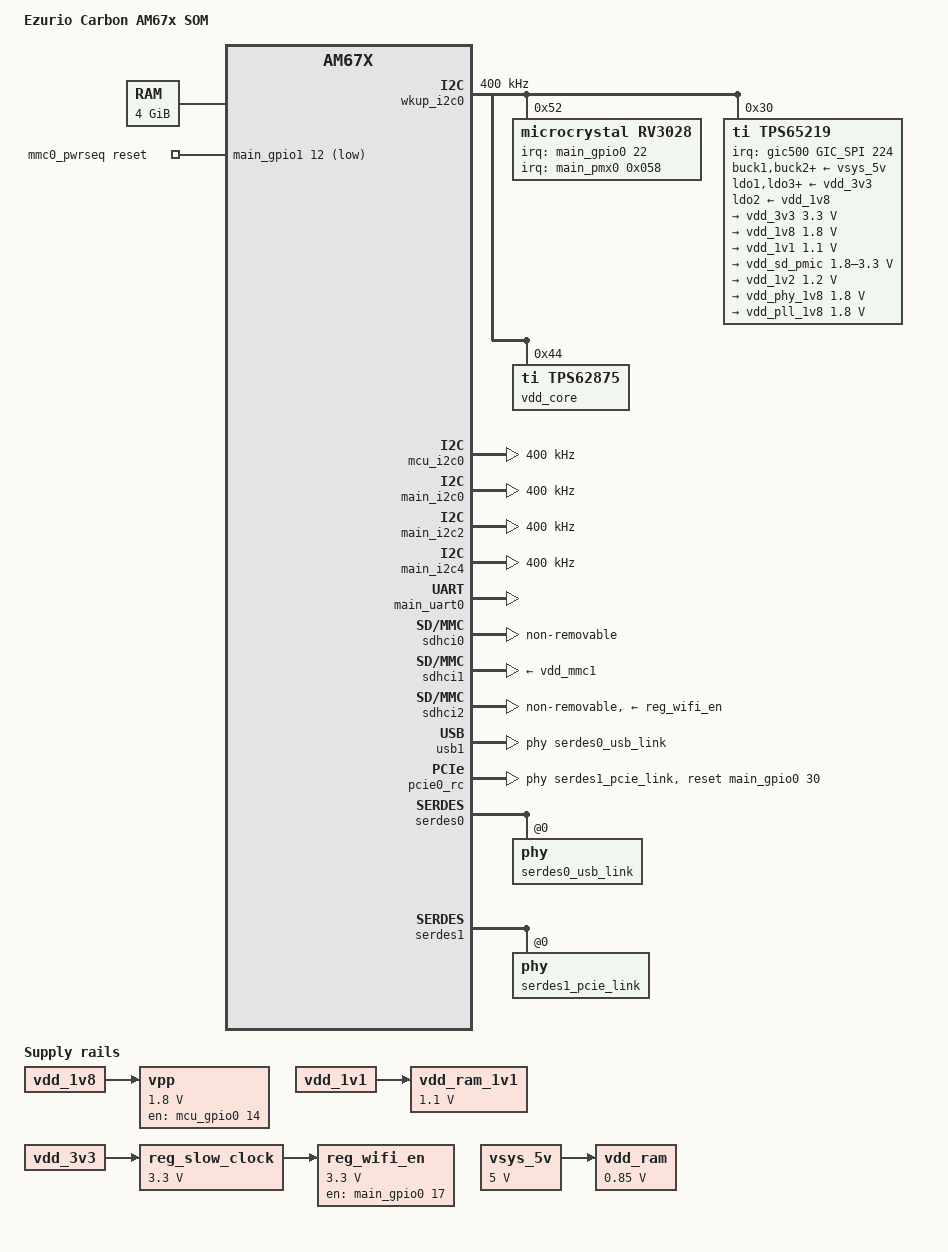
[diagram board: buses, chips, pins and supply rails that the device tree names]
// SPDX-License-Identifier: GPL-2.0
/*
 * AM67 Carbon SOM
 *
 * Copyright (C) 2025 Ezurio LLC
 */

/dts-v1/;

#include <dt-bindings/gpio/gpio.h>
#include <dt-bindings/input/input.h>
#include <dt-bindings/input/gpio-keys.h>
#include <dt-bindings/net/ti-dp83867.h>
#include <dt-bindings/phy/phy.h>
#include "k3-serdes.h"

#include "k3-j722s.dtsi"

/ {
	compatible = "summit,carbon-am67x-som", "ti,j722s";
	model = "Ezurio Carbon AM67x SOM";

	aliases {
		serial0 = &wkup_uart0;		/* UART_C */
		serial2 = &main_uart0;		/* UART_CON */
		serial3 = &main_uart1;		/* BT */
		serial4 = &main_uart5;		/* UART_A */
		serial5 = &mcu_uart0;		/* UART_B */
		serial6 = &main_uart6;		/* UART_D */
		mmc0 = &sdhci0;			/* EMMC */
		mmc1 = &sdhci1;			/* SDIO_A */
		mmc2 = &sdhci2;			/* WIFI */
		spi0 = &main_spi0;			/* SPI_A */
		spi1 = &mcu_spi0;		/* SPI_B */
		ethernet0 = &cpsw_port1;	/* ETH_A */
		ethernet1 = &cpsw_port2;	/* ETH_B */
		can0 = &main_mcan0;		/* CAN_A */
		can1 = &mcu_mcan1;		/* CAN_B */
		usb0 = &usb0;			/* USB_A */
		usb1 = &usb1;			/* USB_C */
		gpio0 = &main_gpio0;
		gpio1 = &main_gpio1;
		gpio2 = &mcu_gpio0;
		rtc0 = &rv3028;
		rtc1 = &wkup_rtc0;
	};

	chosen {
		stdout-path = "serial2:115200n8";
	};

	memory@80000000 {
		device_type = "memory";
		/* 4G RAM */
		reg = <0x00000000 0x80000000 0x00000000 0x80000000>,
		      <0x00000008 0x80000000 0x00000000 0x80000000>;
	};

	reserved_memory: reserved-memory {
		#address-cells = <2>;
		#size-cells = <2>;
		ranges;

		/* global cma region */
		linux,cma {
			compatible = "shared-dma-pool";
			reusable;
			size = <0x00 0x38000000>;
			linux,cma-default;
		};

		secure_tfa_ddr: tfa@9e780000 {
			reg = <0x00 0x9e780000 0x00 0x80000>;
			alignment = <0x1000>;
			no-map;
		};

		secure_ddr: optee@9e800000 {
			reg = <0x00 0x9e800000 0x00 0x01800000>;
			alignment = <0x1000>;
			no-map;
		};

		wkup_r5fss0_core0_dma_memory_region: r5f-dma-memory@a0000000 {
			compatible = "shared-dma-pool";
			reg = <0x00 0xa0000000 0x00 0x100000>;
			no-map;
		};

		wkup_r5fss0_core0_memory_region: r5f-memory@a0100000 {
			compatible = "shared-dma-pool";
			reg = <0x00 0xa0100000 0x00 0xf00000>;
			no-map;
		};

		mcu_r5fss0_core0_dma_memory_region: mcu-r5fss-dma-memory-region@a1000000 {
			compatible = "shared-dma-pool";
			reg = <0x00 0xa1000000 0x00 0x100000>;
			no-map;
		};

		mcu_r5fss0_core0_memory_region: mcu-r5fss-memory-region@a1100000 {
			compatible = "shared-dma-pool";
			reg = <0x00 0xa1100000 0x00 0xf00000>;
			no-map;
		};

		main_r5fss0_core0_dma_memory_region: main-r5fss-dma-memory-region@a2000000 {
			compatible = "shared-dma-pool";
			reg = <0x00 0xa2000000 0x00 0x100000>;
			no-map;
		};

		main_r5fss0_core0_memory_region: main-r5fss-memory-region@a2100000 {
			compatible = "shared-dma-pool";
			reg = <0x00 0xa2100000 0x00 0xf00000>;
			no-map;
		};

		rtos_ipc_memory_region: ipc-memories@a5000000 {
			reg = <0x00 0xa5000000 0x00 0x1c00000>;
			alignment = <0x1000>;
			no-map;
		};
	};

	vsys_5v: regulator-vcc-in-5v {
		/* VCC_IN_5V */
		compatible = "regulator-fixed";
		regulator-name = "vsys_5v";
		regulator-min-microvolt = <5000000>;
		regulator-max-microvolt = <5000000>;
		regulator-always-on;
		regulator-boot-on;
	};

	vdd_ram: regulator-vdd-ram {
		/* TLV62595 U10 */
		compatible = "regulator-fixed";
		regulator-name = "vdd_ram";
		vin-supply = <&vsys_5v>;
		regulator-min-microvolt = <850000>;
		regulator-max-microvolt = <850000>;
		regulator-always-on;
		regulator-boot-on;
	};

	vpp: regulator-vpp {
		/* TPS22916 U11 */
		compatible = "regulator-fixed";
		regulator-name = "vpp";
		vin-supply = <&vdd_1v8>;
		regulator-min-microvolt = <1800000>;
		regulator-max-microvolt = <1800000>;

		pinctrl-names = "default";
		pinctrl-0 = <&mcu_vpp_en_pins_default>;
		gpios = <&mcu_gpio0 14 GPIO_ACTIVE_HIGH>;
		enable-active-high;
	};

	vdd_ram_1v1: regulator-vdd-ram-1v1 {
		/* TPS22916 U11 */
		compatible = "regulator-fixed";
		regulator-name = "vdd_ram_1v1";
		vin-supply = <&vdd_1v1>;
		regulator-min-microvolt = <1100000>;
		regulator-max-microvolt = <1100000>;
		regulator-always-on;
		regulator-boot-on;
	};

	vsel_mmc1: regulator-vsel-mmc1 {
		/* Output of U4 TPS6521920WRHBRQ1 VLDO1 */
		compatible = "regulator-gpio";

		vin-supply = <&vdd_sd_pmic>;

		regulator-name = "vsel_mmc1";
		regulator-min-microvolt = <1800000>;
		regulator-max-microvolt = <3300000>;

		pinctrl-names = "default";
		pinctrl-0 = <&vsel_mmc1_pins_default>;
		gpios = <&main_gpio0 16 GPIO_ACTIVE_LOW>;

		/* initial state must be 3.3V */
		states = <3300000 0x0>, <1800000 0x1>;
		status = "disabled";
	};

	vdd_mmc1: regulator-vdd-mmc1 {
		compatible = "regulator-fixed";

		regulator-name = "vdd_mmc1";
		regulator-min-microvolt = <3300000>;
		regulator-max-microvolt = <3300000>;

		pinctrl-names = "default";
		pinctrl-0 = <&main_mmc1_power_en_default>;
		gpios = <&main_gpio0 15 GPIO_ACTIVE_HIGH>;

		enable-active-high;
		startup-delay-us = <5000>;
		status = "disabled";
	};

	clk_cam_a_hw: clk-cam-a-hw {
		compatible = "pwm-clock";
		status = "disabled";
		#clock-cells = <0>;
		clock-frequency = <24000000>;
		clock-output-names = "clk_cam_a_hw";
		pwms = <&cam_a_pwm 0 42 0>; /* 1 / 42 ns = 24 MHz */
	};

	clk_cam_b_hw: clk-cam-b-hw {
		compatible = "pwm-clock";
		status = "disabled";
		#clock-cells = <0>;
		clock-frequency = <24000000>;
		clock-output-names = "clk_cam_b_hw";
		pwms = <&ecap0 0 42 0>; /* 1 / 42 ns = 24 MHz */
	};

	clk_cam_c_hw: clk-cam-c-hw {
		compatible = "pwm-clock";
		status = "disabled";
		#clock-cells = <0>;
		clock-frequency = <24000000>;
		clock-output-names = "clk_cam_c_hw";
		pwms = <&pwm4 0 42 0>; /* 1 / 42 ns = 24 MHz */
	};

	clk_cam_d_hw: clk-cam-d-hw {
		compatible = "pwm-clock";
		status = "disabled";
		#clock-cells = <0>;
		clock-frequency = <24000000>;
		clock-output-names = "clk_cam_d_hw";
		pwms = <&epwm1 1 42 0>; /* 1 / 42 ns = 24 MHz */
	};

	cam_a_pwm: dmtimer-main-pwm-6 { /* CAM_A_MCK */
		compatible = "ti,omap-dmtimer-pwm";
		#pwm-cells = <3>;
		ti,timers = <&main_timer6>;
		pinctrl-0 = <&main_timer6_pins_default>;
		pinctrl-names = "default";
		status = "disabled";
	};

	pwm4: dmtimer-main-pwm-7 { /* CAM_C_MCK / PWM_4 */
		compatible = "ti,omap-dmtimer-pwm";
		#pwm-cells = <3>;
		ti,timers = <&main_timer7>;
		pinctrl-0 = <&main_timer7_pins_default>;
		pinctrl-names = "default";
		status = "disabled";
	};

	mmc0_pwrseq: pwrseq {
		pinctrl-names = "default";
		pinctrl-0 = <&main_mmc0_reset_pins_default>;

		compatible = "mmc-pwrseq-emmc";
		reset-gpios = <&main_gpio1 12 GPIO_ACTIVE_LOW>;
	};

	reg_slow_clock: regulator-slow-clock {
		compatible = "regulator-fixed-clock";

		regulator-name = "reg_slow_clock";
		regulator-min-microvolt = <3300000>;
		regulator-max-microvolt = <3300000>;

		vin-supply = <&vdd_3v3>;
		clocks = <&k3_clks 157 174>;

		startup-delay-us = <1000>;

		pinctrl-names = "default";
		pinctrl-0 = <&wifi_32k_clk>;

		assigned-clocks = <&k3_clks 157 158>;
		assigned-clock-parents = <&k3_clks 157 160>;
	};

	reg_wifi_en: regulator-wifi-en {
		compatible = "regulator-fixed";

		regulator-name = "reg_wifi_en";
		regulator-min-microvolt = <3300000>;
		regulator-max-microvolt = <3300000>;

		vin-supply = <&reg_slow_clock>;

		pinctrl-names = "default";
		pinctrl-0 = <&main_wifi_en_pins_default>;
		gpios = <&main_gpio0 17 GPIO_ACTIVE_HIGH>;
		enable-active-high;

		startup-delay-us = <250000>;
		off-on-delay-us = <100>;
	};

	wifi_wakeup: wifi-wakeup {
		compatible = "gpio-keys";

		status = "disabled";

		pinctrl-names = "default";
		pinctrl-0 = <&main_wifi_wake_default>, <&main_bt_wake_pins_default>;

		wifi-wake {
			label = "Wi-Fi Wake Up";
			linux,code = <KEY_WAKEUP>;
			wakeup-source;

			interrupts-extended = <&main_gpio0 20 IRQ_TYPE_EDGE_FALLING>,
				<&main_pmx0 0x050>;
			interrupt-names = "irq", "wakeup";

			//gpios = <&main_gpio0 20 GPIO_ACTIVE_LOW>;
			//wakeup-event-action = <EV_ACT_ASSERTED>;
		};

		bt-wake {
			label = "BT Wake Up";
			linux,code = <KEY_WAKEUP>;
			wakeup-source;

			interrupts-extended = <&main_gpio0 21 IRQ_TYPE_EDGE_FALLING>,
				<&main_pmx0 0x054>;
			interrupt-names = "irq", "wakeup";

			//gpios = <&main_gpio0 21 GPIO_ACTIVE_LOW>;
			//wakeup-event-action = <EV_ACT_ASSERTED>;
		};
	};
};

&cpsw3g {
	pinctrl-names = "default";
	pinctrl-0 = <&main_rgmii1_pins_default>, <&main_rgmii2_pins_default>;

	status = "disabled";

	cpts@3d000 {
		/* MAP HW3_TS_PUSH to GENF1 */
		ti,pps = <2 1>;
	};
};

&cpsw_port1 {
	status = "disabled";
	phy-mode = "rgmii-rxid";

	/delete-property/ mac-address;
	/delete-property/ ti,syscon-efuse;
	nvmem-cells = <&eth_mac0>;
	nvmem-cell-names = "mac-address";
};

&cpsw_port2 {
	status = "disabled";
	phy-mode = "rgmii-rxid";

	/delete-property/ mac-address;
	/delete-property/ ti,syscon-efuse;
	nvmem-cells = <&eth_mac1>;
	nvmem-cell-names = "mac-address";
};

&cpsw3g_mdio {
	pinctrl-names = "default";
	pinctrl-0 = <&main_mdio0_pins_default>;
};

&epwm1 { /* LVDS_E_BL_PWM / PWM_2 & CAM_D_MCK / PWM_5 */
	pinctrl-names = "default";
	pinctrl-0 = <&main_epwm1_pins_default>;
};

&epwm2 { /* LVDS_D_BL_PWM / PWM_1 & DSI_A_BL_PWM / PWM_0 */
	pinctrl-names = "default";
	pinctrl-0 = <&main_epwm2_pins_default>;
};

&ecap0 { /* CAM_B_MCK / PWM_3 */
	/* ECAP0 in APWM mode */
	pinctrl-names = "default";
	pinctrl-0 = <&main_ecap0_pins_default>;
};

&mailbox0_cluster0 {
	mbox_wkup_r5_0: mbox-wkup-r5-0 {
		ti,mbox-rx = <0 0 0>;
		ti,mbox-tx = <1 0 0>;
	};
};

&mailbox0_cluster1 {
	mbox_mcu_r5_0: mbox-mcu-r5-0 {
		ti,mbox-rx = <0 0 0>;
		ti,mbox-tx = <1 0 0>;
	};
};

&mailbox0_cluster3 {
	mbox_main_r5_0: mbox-main-r5-0 {
		ti,mbox-rx = <0 0 0>;
		ti,mbox-tx = <1 0 0>;
	};
};

/* Timers are used by Remoteproc firmware */
&main_timer0 {
	status = "reserved";
};

&main_timer1 {
	status = "reserved";
};

&main_timer2 {
	status = "reserved";
};

&wkup_r5fss0_core0 {
	mboxes = <&mailbox0_cluster0 &mbox_wkup_r5_0>;
	memory-region = <&wkup_r5fss0_core0_dma_memory_region>,
			<&wkup_r5fss0_core0_memory_region>;
};

&mcu_r5fss0_core0 {
	mboxes = <&mailbox0_cluster1 &mbox_mcu_r5_0>;
	memory-region = <&mcu_r5fss0_core0_dma_memory_region>,
			<&mcu_r5fss0_core0_memory_region>;
};

&main_r5fss0_core0 {
	mboxes = <&mailbox0_cluster3 &mbox_main_r5_0>;
	memory-region = <&main_r5fss0_core0_dma_memory_region>,
			<&main_r5fss0_core0_memory_region>;
};

&main_rti1 {
	status = "disabled";
};

&main_rti2 {
	status = "disabled";
};

&main_rti3 {
	status = "disabled";
};

&main_rti15 {
	status = "disabled";
};

&main_gpio0 {
	gpio-line-names =
		"CAM_A_PWR","","","CAM_C_PWR","CAM_C_PWR", 				/* 0 - 4 */
		"CAM_D_PWR","CAM_A_RST","","","",
		"","CAM_B_PWR","CAM_B_RST","","",					/* 10 - 14 */
		"SDIO_A_PWR_EN","SDIO_A_VSEL","W_DISABLE1","W_DISABLE2","SDIO_RESET",
		"SDIO_WAKE","BT_HOST_WAKE","RTC_INT","USB_A_ID","USB_A_OC",	/* 20 - 24 */
		"USB_C_ID","USB_C_OC","SDIO_A_PWR_EN","DSI_A_VDD_EN","DSI_A_BL_EN",
		"PCIE_PERST","","","","",				/* 30 - 34 */
		"","ETH_A_INT","","","",
		"ETH_A_RST","","","","",			/* 40 - 44 */
		"USB_C_PD_RESET","GPIO_A_3","ETH_B_RST","ETH_B_INT","LVDS_E_VDD_EN",
		"LVDS_E_BL_EN","LVDS_D_VDD_EN","LVDS_D_BL_EN","","",		/* 50 - 54 */
		"","","","","",
		"","","","","",					/* 60 - 64 */
		"","","","","",
		"","GPIO_A_0","CAM_C_RST","","",				/* 70 - 74 */
		"","","","","",
		"","","","","",					/* 80 - 84 */
		"","","","","",
		"","";						/* 90 - 91 */
};

&main_gpio1 {
	gpio-line-names =
		"","","","","",					/* 0 - 4 */
		"","","","","",
		"","","EMMC_RESET","","",			/* 10 - 14 */
		"","","","","",
		"","","","","",					/* 20 - 24 */
		"","","","","",
		"","","","","",					/* 30 - 34 */
		"","","","","",
		"","","","","",					/* 40 - 44 */
		"","","","","",
		"USB_A_VBUS","USB_C_VBUS";						/* 50 - 51 */
};

&wkup_i2c0 {
	status = "okay";

	pinctrl-names = "default";
	pinctrl-0 = <&wkup_i2c0_pins_default>;
	clock-frequency = <400000>;

	rv3028: rtc@52 {
		compatible = "microcrystal,rv3028";
		reg = <0x52>;

		backup-switchover-dsm;

		pinctrl-names = "default";
		pinctrl-0 = <&rtc_pins_default>;
		interrupts-extended = <&main_gpio0 22 IRQ_TYPE_EDGE_FALLING>,
			<&main_pmx0 0x058>;
		interrupt-names = "irq", "wakeup";
		wakeup-source;

		#clock-cells = <0>;

		eeprom {
			compatible = "microcrystal,rv3028-eeprom";
			#address-cells = <1>;
			#size-cells = <1>;

			eth_mac0: mac-address@0 {
				reg = <0x00 0x06>;
			};

			eth_mac1: mac-address@6 {
				reg = <0x06 0x06>;
			};

			ram_type: ram-type@c {
				reg = <0x0c 0x02>;
			};

			radio_type: radio-type@e {
				reg = <0x0e 0x02>;
			};
		};
	};

	tps65219: pmic@30 {
		compatible = "ti,tps65219";
		reg = <0x30>;
		buck1-supply = <&vsys_5v>;
		buck2-supply = <&vsys_5v>;
		buck3-supply = <&vsys_5v>;
		ldo1-supply = <&vdd_3v3>;
		ldo2-supply = <&vdd_1v8>;
		ldo3-supply = <&vdd_3v3>;
		ldo4-supply = <&vdd_3v3>;

		pinctrl-names = "default";
		pinctrl-0 = <&pmic_irq_pins_default>;

		interrupts-extended = <&gic500 GIC_SPI 224 IRQ_TYPE_LEVEL_HIGH>;

		system-power-controller;
		ti,power-button;

		regulators {
			vdd_3v3: buck1 {
				regulator-name = "vdd_3v3";
				regulator-min-microvolt = <3300000>;
				regulator-max-microvolt = <3300000>;
				regulator-boot-on;
				regulator-always-on;
			};

			vdd_1v8: buck2 {
				regulator-name = "vdd_1v8";
				regulator-min-microvolt = <1800000>;
				regulator-max-microvolt = <1800000>;
				regulator-boot-on;
				regulator-always-on;
			};

			vdd_1v1: buck3 {
				regulator-name = "vdd_1v1";
				regulator-min-microvolt = <1100000>;
				regulator-max-microvolt = <1100000>;
				regulator-boot-on;
				regulator-always-on;
			};

			vdd_sd_pmic: ldo1 {
				/*
				 * Regulator is left as is unused, vdd_sd
				 * is controlled via GPIO with bypass config
				 * as per the NVM configuration
				 */
				regulator-name = "vdd_sd_pmic";
				regulator-min-microvolt = <1800000>;
				regulator-max-microvolt = <3300000>;
				regulator-allow-bypass;
				regulator-boot-on;
				regulator-always-on;
			};

			vdd_1v2: ldo2 {
				regulator-name = "vdd_1v2";
				regulator-min-microvolt = <1200000>;
				regulator-max-microvolt = <1200000>;
				regulator-boot-on;
				regulator-always-on;
			};

			vdd_phy_1v8: regulator-u3-ldo3 {
				regulator-name = "vdd_phy_1v8";
				regulator-min-microvolt = <1800000>;
				regulator-max-microvolt = <1800000>;
				regulator-boot-on;
				regulator-always-on;
			};

			vdd_pll_1v8: ldo4 {
				regulator-name = "vdd_pll_1v8";
				regulator-min-microvolt = <1800000>;
				regulator-max-microvolt = <1800000>;
				regulator-boot-on;
				regulator-always-on;
			};
		};
	};

	vdd_core: regulator@44 {
		compatible = "ti,tps62875";
		reg = <0x44>;
		regulator-name = "vdd_core";
		regulator-min-microvolt = <850000>;
		regulator-max-microvolt = <850000>;
		regulator-boot-on;
		regulator-always-on;
	};
};

&mcu_i2c0 {
	/* I2C_B */
	pinctrl-names = "default";
	pinctrl-0 = <&mcu_i2c0_pins_default>;
	clock-frequency = <400000>;
};

&main_i2c0 {
	/* I2C_A */
	pinctrl-names = "default";
	pinctrl-0 = <&main_i2c0_pins_default>;
	clock-frequency = <400000>;
};

&main_i2c2 {
	/* I2C_CAM */
	pinctrl-names = "default";
	pinctrl-0 = <&main_i2c2_pins_default>;
	clock-frequency = <400000>;
};

&main_i2c4 {
	/* I2C_C/I2C_DISP */
	pinctrl-names = "default";
	pinctrl-0 = <&main_i2c4_pins_default>;
	clock-frequency = <400000>;
};

&main_mcan0 {
	/* CAN_A */
	pinctrl-names = "default";
	pinctrl-0 = <&main_mcan0_pins_default>;
};

&main_pmx0 {
	///delete-property/ interrupts;
	interrupts = <GIC_SPI 248 IRQ_TYPE_LEVEL_HIGH>;

	main_epwm1_pins_default: main-epwm1-default-pins {
		pinctrl-single,pins = <
			J722S_IOPAD(0x19c, PIN_OUTPUT, 6) /* LVDS_E_BL_PWM/PWM_2 (B25) MCASP0_AXR1.EHRPWM1_A */
			J722S_IOPAD(0x1a0, PIN_OUTPUT, 6) /* CAM_D_MCK/PWM_5 (F23) MCASP0_AXR0.EHRPWM1_B */
		>;
	};

	main_epwm2_pins_default: main-epwm2-default-pins {
		pinctrl-single,pins = <
			J722S_IOPAD(0x1e8, PIN_OUTPUT, 8) /* LVDS_D_BL_PWM/PWM_1 (C24) I2C1_SCL.EHRPWM2_A */
			J722S_IOPAD(0x1ec, PIN_OUTPUT, 8) /* DSI_A_BL_PWM/PWM_0 (A22) I2C1_SDA.EHRPWM2_B */
		>;
	};

	main_ecap0_pins_default: main-ecap0-default-pins {
		pinctrl-single,pins = <
			J722S_IOPAD(0x1f0, PIN_OUTPUT, 8) /* CAM_B_MCK/PWM_3 (A23) EXT_REFCLK1.ECAP0_IN_APWM_OUT */
		>;
	};

	main_timer6_pins_default: main-timer6-default-pins {
		pinctrl-single,pins = <
			J722S_IOPAD(0x1d0, PIN_OUTPUT, 4) /* CAM_A_MCK (E22) UART0_CTSN.TIMER_IO6 */
		>;
	};

	main_timer7_pins_default: main-timer7-default-pins {
		pinctrl-single,pins = <
			J722S_IOPAD(0x1d4, PIN_OUTPUT, 4) /* CAM_C_MCK/PWM_4 (B21) UART0_RTSN.TIMER_IO7 */
		>;
	};

	main_i2c0_pins_default: main-i2c0-default-pins {
		pinctrl-single,pins = <
			J722S_IOPAD(0x01e0, PIN_INPUT_PULLUP, 0) /* I2C_A_SCL (D23) I2C0_SCL */
			J722S_IOPAD(0x01e4, PIN_INPUT_PULLUP, 0) /* I2C_A_SDA (B22) I2C0_SDA */
		>;
	};

	main_i2c2_pins_default: main-i2c2-default-pins {
		pinctrl-single,pins = <
			J722S_IOPAD(0x0b0, PIN_INPUT_PULLUP, 1) /* I2C_CAM_SCL (P22) GPMC0_CSn2.I2C2_SCL */
			J722S_IOPAD(0x0b4, PIN_INPUT_PULLUP, 1) /* I2C_CAM_SDA (P23) GPMC0_CSn3.I2C2_SDA */
		>;
	};

	main_i2c4_pins_default: main-i2c4-default-pins {
		pinctrl-single,pins = <
			J722S_IOPAD(0x0a8, PIN_INPUT_PULLUP, 1) /* I2C_C_SCL (R27) GPMC0_CSn0.I2C4_SCL */
			J722S_IOPAD(0x0ac, PIN_INPUT_PULLUP, 1) /* I2C_C_SDA (P21) GPMC0_CSn1.I2C4_SDA */
		>;
	};

	main_mmc0_reset_pins_default: main-mmc0-reset-default-pins {
		pinctrl-single,pins = <
			J722S_IOPAD(0x1a8, PIN_INPUT, 7) /* (C26) MACASP0_AFSX.GPIO1_12 */
		>;
	};

	main_mmc1_pins_default: main-mmc1-default-pins {
		pinctrl-single,pins = <
			J722S_IOPAD(0x23c, PIN_INPUT_PULLUP, 0) /* SDIO_A_CMD (H22) MMC1_CMD */
			J722S_IOPAD(0x234, PIN_OUTPUT, 0) /* SDIO_A_CLK (H24) MMC1_CLK */
			J722S_IOPAD(0x230, PIN_INPUT_PULLUP, 0) /* SDIO_A_D0 (H23) MMC1_DAT0 */
			J722S_IOPAD(0x22c, PIN_INPUT_PULLUP, 0) /* SDIO_A_D1 (H20) MMC1_DAT1 */
			J722S_IOPAD(0x228, PIN_INPUT_PULLUP, 0) /* SDIO_A_D2 (J23) MMC1_DAT2 */
			J722S_IOPAD(0x224, PIN_INPUT_PULLUP, 0) /* SDIO_A_D3 (H25) MMC1_DAT3 */
			J722S_IOPAD(0x240, PIN_INPUT_PULLUP, 0) /* SDIO_A_CD# (B24) MMC1_SDCD */
			J722S_IOPAD(0x238, PIN_INPUT, 0) /* (#N/A) MMC1_CLKLB */
		>;
	};

	main_mmc2_pins_default: main-mmc2-default-pins {
		pinctrl-single,pins = <
			J722S_IOPAD(0x120, PIN_INPUT_PULLUP, 0) /* (F27) MMC2_CMD */
			J722S_IOPAD(0x118, PIN_OUTPUT, 0) /* (H26) MMC2_CLK */
			J722S_IOPAD(0x114, PIN_INPUT_PULLUP, 0) /* (G26) MMC2_DAT0 */
			J722S_IOPAD(0x110, PIN_INPUT_PULLUP, 0) /* (G27) MMC2_DAT1 */
			J722S_IOPAD(0x10c, PIN_INPUT_PULLUP, 0) /* (H27) MMC2_DAT2 */
			J722S_IOPAD(0x108, PIN_INPUT_PULLUP, 0) /* (J27) MMC2_DAT3 */
			J722S_IOPAD(0x11c, PIN_INPUT, 0) /* (#N/A) MMC2_CLKLB */
		>;
	};

	main_mdio0_pins_default: main-mdio0-default-pins {
		pinctrl-single,pins = <
			J722S_IOPAD(0x160, PIN_OUTPUT, 0) /* ETH_A(B)_MDC (AC24) MDIO0_MDC */
			J722S_IOPAD(0x15c, PIN_INPUT, 0) /* ETH_A(B)_MDIO (AD25) MDIO0_MDIO */
		>;
	};

	main_rgmii1_pins_default: main-rgmii1-default-pins {
		pinctrl-single,pins = <
			J722S_IOPAD(0x014c, PIN_INPUT, 0) /* ETH_A_(S)(R)(G)MII_RXD0 (AC25) RGMII1_RD0 */
			J722S_IOPAD(0x0150, PIN_INPUT, 0) /* ETH_A_(S)(R)(G)MII_RXD1 (AD27) RGMII1_RD1 */
			J722S_IOPAD(0x0154, PIN_INPUT, 0) /* ETH_A_(S)(R)(G)MII_RXD2 (AE24) RGMII1_RD2 */
			J722S_IOPAD(0x0158, PIN_INPUT, 0) /* ETH_A_(S)(R)(G)MII_RXD3 (AE26) RGMII1_RD3 */
			J722S_IOPAD(0x0148, PIN_INPUT, 0) /* ETH_A_(R)(G)MII_RX_CLK (AE27) RGMII1_RXC */
			J722S_IOPAD(0x0144, PIN_INPUT, 0) /* ETH_A_(R)(G)MII_RX_DV(_ER) (AD23) RGMII1_RX_CTL */
			J722S_IOPAD(0x0134, PIN_OUTPUT, 0) /* ETH_A_(S)(R)(G)MII_TXD0 (AF27) RGMII1_TD0 */
			J722S_IOPAD(0x0138, PIN_OUTPUT, 0) /* ETH_A_(S)(R)(G)MII_TXD1 (AE23) RGMII1_TD1 */
			J722S_IOPAD(0x013c, PIN_OUTPUT, 0) /* ETH_A_(S)(R)(G)MII_TXD2 (AG25) RGMII1_TD2 */
			J722S_IOPAD(0x0140, PIN_OUTPUT, 0) /* ETH_A_(S)(R)(G)MII_TXD3 (AF24) RGMII1_TD3 */
			J722S_IOPAD(0x0130, PIN_OUTPUT, 0) /* ETH_A_(R)(G)MII_TX_CLK (AG26) RGMII1_TXC */
			J722S_IOPAD(0x012c, PIN_OUTPUT, 0) /* ETH_A_(R)(G)MII_TX_EN(_ER) (AF25) RGMII1_TX_CTL */
		>;
	};

	main_rgmii2_pins_default: main-rgmii2-default-pins {
		pinctrl-single,pins = <
			J722S_IOPAD(0x0f8, PIN_INPUT, 2) /* ETH_B_(S)(R)(G)MII_RXD0 (AB24) RGMII2_RD0 */
			J722S_IOPAD(0x0fc, PIN_INPUT, 2) /* ETH_B_(S)(R)(G)MII_RXD1 (AC27) RGMII2_RD1 */
			J722S_IOPAD(0x100, PIN_INPUT, 2) /* ETH_B_(S)(R)(G)MII_RXD2 (AB23) RGMII2_RD2 */
			J722S_IOPAD(0x104, PIN_INPUT, 2) /* ETH_B_(S)(R)(G)MII_RXD3 (AC26) RGMII2_RD3 */
			J722S_IOPAD(0x0f4, PIN_INPUT, 2) /* ETH_B_(R)(G)MII_RX_CLK (AB27) RGMII2_RXC */
			J722S_IOPAD(0x0f0, PIN_INPUT, 2) /* ETH_B_(R)(G)MII_RX_DV(_ER) (AB26) RGMII2_RX_CTL */
			J722S_IOPAD(0x0e0, PIN_OUTPUT, 2) /* ETH_B_(S)(R)(G)MII_TXD0 (AA25) RGMII2_TD0 */
			J722S_IOPAD(0x0e4, PIN_OUTPUT, 2) /* ETH_B_(S)(R)(G)MII_TXD1 (AB25) RGMII2_TD1 */
			J722S_IOPAD(0x0e8, PIN_OUTPUT, 2) /* ETH_B_(S)(R)(G)MII_TXD2 (AA23) RGMII2_TD2 */
			J722S_IOPAD(0x0ec, PIN_OUTPUT, 2) /* ETH_B_(S)(R)(G)MII_TXD3 (AA22) RGMII2_TD3 */
			J722S_IOPAD(0x0dc, PIN_OUTPUT, 2) /* ETH_B_(R)(G)MII_TX_CLK (AA27) RGMII2_TXC */
			J722S_IOPAD(0x0d8, PIN_OUTPUT, 2) /* ETH_B_(R)(G)MII_TX_EN(_ER) (AA24) RGMII2_TX_CTL */
		>;
	};

	main_rmii1_pins_default: main-rmii1-default-pins {
		pinctrl-single,pins = <
			J722S_IOPAD(0x014c, PIN_INPUT, 1) /* ETH_A_(S)(R)(G)MII_RXD0 (AC25) RGMII1_RD0.RMII1_RD0 */
			J722S_IOPAD(0x0150, PIN_INPUT, 1) /* ETH_A_(S)(R)(G)MII_RXD1 (AD27) RGMII1_RD1.RMII1_RD1 */
			J722S_IOPAD(0x0148, PIN_INPUT, 1) /* ETH_A_(R)(G)MII_RX_CLK (AE27) RGMII1_RXC.RMII1_REF_CLK */
			J722S_IOPAD(0x0144, PIN_INPUT, 1) /* ETH_A_(R)(G)MII_RX_DV(_ER) (AD23) RGMII1_RX_CTL.RMII1_RX_ER */
			J722S_IOPAD(0x0134, PIN_OUTPUT, 1) /* ETH_A_(S)(R)(G)MII_TXD0 (AF27) RGMII1_TD0.RMII1_TD0 */
			J722S_IOPAD(0x0138, PIN_OUTPUT, 1) /* ETH_A_(S)(R)(G)MII_TXD1 (AE23) RGMII1_TD1.RMII1_TD1 */
			J722S_IOPAD(0x0130, PIN_OUTPUT, 1) /* ETH_A_(R)(G)MII_TX_CLK (AG26) RGMII1_TXC.RMII1_CRS_DV */
			J722S_IOPAD(0x012c, PIN_OUTPUT, 1) /* (AF25) RGMII1_TX_CTL.RMII1_TX_EN */
		>;
	};

	main_rmii2_pins_default: main-rmii2-default-pins {
		pinctrl-single,pins = <
			J722S_IOPAD(0x0f8, PIN_INPUT, 3) /* ETH_B_(S)(R)(G)MII_RXD0 (AB24) RGMII2_RD0.RMII2_RD0 */
			J722S_IOPAD(0x0fc, PIN_INPUT, 3) /* ETH_B_(S)(R)(G)MII_RXD1 (AC27) RGMII2_RD1.RMII2_RD1 */
			J722S_IOPAD(0x0f4, PIN_INPUT, 3) /* ETH_B_(R)(G)MII_RX_CLK (AB27) RGMII2_RXC.RMII2_REF_CLK */
			J722S_IOPAD(0x0f0, PIN_INPUT, 3) /* ETH_B_(R)(G)MII_RX_DV(_ER) (AB26) RGMII2_RX_CTL.RMII2_RX_ER */
			J722S_IOPAD(0x0e0, PIN_OUTPUT, 3) /* ETH_B_(S)(R)(G)MII_TXD0 (AA25) RGMII2_TD0.RMII2_TD0 */
			J722S_IOPAD(0x0e4, PIN_OUTPUT, 3) /* ETH_B_(S)(R)(G)MII_TXD1 (AB25) RGMII2_TD1.RMII2_TD1 */
			J722S_IOPAD(0x0dc, PIN_OUTPUT, 3) /* ETH_B_(R)(G)MII_TX_CLK (AA27) RGMII2_TXC.RMII2_CRS_DV */
			J722S_IOPAD(0x0d8, PIN_OUTPUT, 3) /* ETH_B_(R)(G)MII_TX_EN(_ER) (AA24) RGMII2_TX_CTL.RMII2_TX_EN */
		>;
	};

	main_rgmii_phy0_gpio: main-rgmii-phy0-gpio-default-pins {
		pinctrl-single,pins = <
			J722S_IOPAD(0x0a4, PIN_INPUT, 7) /* ETH_A_RST (N25) GPMC0_DIR.GPIO0_40 */
			J722S_IOPAD(0x094, PIN_INPUT_PULLUP, 7) /* ETH_A_INT (P26) GPMC0_BE1N.GPIO0_36 */
		>;
	};

	main_rgmii_phy1_gpio: main-rgmii-phy1-gpio-default-pins {
		pinctrl-single,pins = <
			J722S_IOPAD(0x0c0, PIN_INPUT, 7) /* ETH_B_RST (W24) VOUT0_DATA2.GPIO0_47 */
			J722S_IOPAD(0x0c4, PIN_INPUT_PULLUP, 7) /* ETH_B_INT (W23) VOUT0_DATA3.GPIO0_48 */
		>;
	};

	main_usb0_pins_default: main-usb0-default-pins {
		pinctrl-single,pins = <
			J722S_IOPAD(0x254, PIN_OUTPUT, 0) /* USB_A_VBUS (E25) USB0_DRVVBUS */
		>;
	};

	main_usb1_pins_default: main-usb1-default-pins {
		pinctrl-single,pins = <
			J722S_IOPAD(0x258, PIN_OUTPUT, 0) /* USB_B_VBUS (B27) USB1_DRVVBUS */
		>;
	};

	main_mcasp1_pins_default: main-mcasp1-default-pins {
		pinctrl-single,pins = <
			J722S_IOPAD(0x084, PIN_INPUT, 2) /* I2S_A_DATA_IN (N21) GPMC0_ADVN_ALE.MCASP1_AXR2 */
			J722S_IOPAD(0x08c, PIN_OUTPUT, 2) /* I2S_A_DATA_OUT (N23) GPMC0_WEN.MCASP1_AXR0 */
			J722S_IOPAD(0x090, PIN_INPUT, 2) /* I2S_A_BITCLK (P27) GPMC0_BE0N_CLE.MCASP1_ACLKX - Clock Transmit */
			J722S_IOPAD(0x098, PIN_INPUT, 2) /* I2S_A_LRCLK (V21) GPMC0_WAIT0.MCASP1_AFSX - Frame Transmit */
		>;
	};

	main_mcan0_pins_default: main-mcan0-default-pins {
		pinctrl-single,pins = <
			J722S_IOPAD(0x1d8, PIN_OUTPUT, 0) /* CAN_A_TX (D22) MCAN0_TX */
			J722S_IOPAD(0x1dc, PIN_INPUT, 0) /* CAN_A_RX (C22) MCAN0_RX */
		>;
	};

	main_spi0_pins_default: main-spi0-default-pins {
		pinctrl-single,pins = <
			J722S_IOPAD(0x1c0, PIN_OUTPUT, 0) /* SPI_C_SDO (E19) SPI0_D0 */
			J722S_IOPAD(0x1c4, PIN_INPUT, 0) /* SPI_C_SDI (E20) SPI0_D1 */
			J722S_IOPAD(0x1b4, PIN_INPUT, 0) /* SPI_C_CS0# (B20) SPI0_CS0 */
			J722S_IOPAD(0x1b8, PIN_INPUT, 0) /* SPI_C_CS1# (C20) SPI0_CS1 */
			J722S_IOPAD(0x1bc, PIN_INPUT, 0) /* SPI_C_SCK (D20) SPI0_CLK */
		>;
	};

	main_uart0_pins_default: main-uart0-default-pins {
		pinctrl-single,pins = <
			J722S_IOPAD(0x1c8, PIN_INPUT_PULLUP, 0) /* UART_CON_RX (F19) UART0_RXD.UART0_RXD */
			J722S_IOPAD(0x1cc, PIN_OUTPUT, 0) /* UART_CON_TX (F20) UART0_TXD.UART0_TXD */
		>;
	};

	main_uart1_pins_default: main-uart1-default-pins {
		pinctrl-single,pins = <
			J722S_IOPAD(0x194, PIN_INPUT_PULLUP, 2) /* UART_BT_CTS (A25) MCASP0_AXR3.UART1_CTSn */
			J722S_IOPAD(0x198, PIN_OUTPUT,       2) /* UART_BT_RTS (A26) MCASP0_AXR2.UART1_RTSn */
			J722S_IOPAD(0x1ac, PIN_INPUT_PULLUP, 2) /* UART_BT_RXD (C27) MCASP0_AFSR.UART1_RXD  */
			J722S_IOPAD(0x1b0, PIN_OUTPUT,       2) /* UART_BT_TXD (F24) MCASP0_ACLKR.UART1_TXD */
		>;
	};

	main_uart5_pins_default: main-uart5-default-pins {
		pinctrl-single,pins = <
			J722S_IOPAD(0x034, PIN_INPUT_PULLUP, 5) /* UART_A_RX (K22) OSPI0_CSN2.UART5_RXD */
			J722S_IOPAD(0x038, PIN_OUTPUT, 5) /* UART_A_TX (J22) OSPI0_CSN3.UART5_TXD */
			J722S_IOPAD(0x008, PIN_INPUT_PULLUP, 5) /* UART_A_CTS (L22) OSPI0_DQS.UART5_CTSn */
			J722S_IOPAD(0x004, PIN_OUTPUT, 5) /* UART_A_RTS (L23) OSPI0_LBCLKO.UART5_RTSn */
		>;
	};

	main_uart6_pins_default: main-uart6-default-pins {
		pinctrl-single,pins = <
			J722S_IOPAD(0x028, PIN_INPUT_PULLUP, 3) /* UART_D_CTS/GPIO_B_2 (M27) OSPI0_D7.UART6_CTSn */
			J722S_IOPAD(0x024, PIN_OUTPUT, 3) /* UART_D_RTS/GPIO_B_3 (N27) OSPI0_D6.UART6_RTSn */
			J722S_IOPAD(0x01c, PIN_INPUT_PULLUP, 3) /* UART_D_RX (L21) OSPI0_D4.UART6_RXD */
			J722S_IOPAD(0x020, PIN_OUTPUT, 3) /* UART_D_TX (M26) OSPI0_D5.UART6_TXD */
		>;
	};

	rtc_pins_default: rtc-default-pins {
		pinctrl-single,pins = <
			J722S_IOPAD(0x058, PIN_INPUT_PULLUP, 7) /* RTC_INT (T22) GPMC0_AD7.GPIO0_22 */
		>;
	};

	main_wifi_en_pins_default: main-wifi-en-default-pins {
		pinctrl-single,pins = <
			J722S_IOPAD(0x044, PIN_INPUT, 7) /* W_DISABLE1# (R26) GPMC0_AD2.GPIO0_17 */
		>;
	};

	main_bt_en_pins_default: main-bt-en-default-pins {
		pinctrl-single,pins = <
			J722S_IOPAD(0x048, PIN_INPUT, 7) /* W_DISABLE2# (T27) GPMC0_AD3.GPIO0_18 */
		>;
	};

	main_wifi_wake_default: main-wifi-wake-default-pins {
		pinctrl-single,pins = <
			J722S_IOPAD(0x050, PIN_INPUT, 7) /* SDIO_WAKE# (T24) GPMC0_AD5.GPIO0_20 */
		>;
	};

	main_bt_wake_pins_default: main-bt-wake-default-pins {
		pinctrl-single,pins = <
			J722S_IOPAD(0x054, PIN_INPUT_PULLUP, 7) /* BT_HOST_WAKE (T21) GPMC0_AD6.GPIO0_21 */
		>;
	};

	pmic_irq_pins_default: pmic-irq-default-pins {
		pinctrl-single,pins = <
			J722S_IOPAD(0x1f4, PIN_INPUT, 0) /* (B26) EXTINTn */
		>;
	};

	ospi0_pins_default: ospi0-default-pins {
		pinctrl-single,pins = <
			J722S_IOPAD(0x000, PIN_OUTPUT, 0) /* SPI_A_SCK (H24) OSPI0_CLK */
			J722S_IOPAD(0x02c, PIN_OUTPUT, 0) /* SPI_A_CS0 (K26) OSPI0_CSN0 */
			J722S_IOPAD(0x030, PIN_OUTPUT, 0) /* SPI_A_CS1 (K23) OSPI0_CSN1 */
			J722S_IOPAD(0x00c, PIN_INPUT, 0) /* SPI_A_(SDI)IO0 (K27) OSPI0_D0 */
			J722S_IOPAD(0x010, PIN_INPUT, 0) /* SPI_A_(SDO)IO1 (L27) OSPI0_D1 */
			J722S_IOPAD(0x014, PIN_INPUT, 0) /* SPI_A_IO2 (L26) OSPI0_D2 */
			J722S_IOPAD(0x018, PIN_INPUT, 0) /* SPI_A_IO3 (L25) OSPI0_D3 */
		>;
	};

	vsel_mmc1_pins_default: vsel-mmc1-default-pins {
		pinctrl-single,pins = <
			J722S_IOPAD(0x040, PIN_INPUT, 7) /* VSEL_SD (R23) GPMC0_AD1.GPIO0_16 */
		>;
	};

	main_mmc1_power_en_default: main-mmc1-power-en-default-pins {
		pinctrl-single,pins = <
			J722S_IOPAD(0x03c, PIN_INPUT, 7) /* SDIO_A_PWR_EN (R22) GPMC0_AD0.GPIO0_15 */
		>;
	};

	usb_a_id_pins_default: usb-a-id-default-pins {
		pinctrl-single,pins = <
			J722S_IOPAD(0x05c, PIN_INPUT_PULLUP, 7) /* USB_A_ID (U27) GPMC0_AD8.GPIO0_23 */
			J722S_IOPAD(0x060, PIN_INPUT_PULLUP, 7) /* USB_A_OC# (U26) GPMC0_AD9.GPIO0_24 */
		>;
	};

	usb_c_id_pins_default: usb-c-id-default-pins {
		pinctrl-single,pins = <
			J722S_IOPAD(0x064, PIN_INPUT_PULLUP, 7) /* USB_C_ID (V27) GPMC0_AD10.GPIO0_25 */
			J722S_IOPAD(0x068, PIN_INPUT_PULLUP, 7) /* USB_C_OC# (V25) GPMC0_AD11.GPIO0_26 */
		>;
	};

	main_dsi_a_power_default: main-dsi-a-power-default-pins {
		pinctrl-single,pins = <
			J722S_IOPAD(0x070, PIN_INPUT, 7) /* DSI_VDD_EN (V24) GPMC0_AD13.GPIO0_28 */
		>;
	};

	main_dsi_a_backlight_en_default: main-dsi-a-backlight-en-default-pins {
		pinctrl-single,pins = <
			J722S_IOPAD(0x074, PIN_INPUT, 7) /* DSI_BL_EN (V22) GPMC0_AD14.GPIO0_29 */
		>;
	};

	main_lvds_d_power_default: main-lvds-d-power-default-pins {
		pinctrl-single,pins = <
			J722S_IOPAD(0x0d0, PIN_INPUT, 7) /* LVDS_D_VDD_EN (Y26) VOUT0_DATA6.GPIO0_51 */
		>;
	};

	main_lvds_d_backlight_en_default: main-lvds-d-backlight-en-default-pins {
		pinctrl-single,pins = <
			J722S_IOPAD(0x0d4, PIN_INPUT, 7) /* LVDS_D_BL_EN (Y27) VOUT0_DATA7.GPIO0_52 */
		>;
	};

	main_lvds_e_power_default: main-lvds-e-power-default-pins {
		pinctrl-single,pins = <
			J722S_IOPAD(0x0c8, PIN_INPUT, 7) /* LVDS_E_VDD_EN (W22) VOUT0_DATA4.GPIO0_49 */
		>;
	};

	main_lvds_e_backlight_en_default: main-lvds-e-backlight-en-default-pins {
		pinctrl-single,pins = <
			J722S_IOPAD(0x0cc, PIN_INPUT, 7) /* LVDS_E_BL_EN (W21) VOUT0_DATA5.GPIO0_50 */
		>;
	};

	main_cam_a_pins_default: main-cam-a-default-pins {
		pinctrl-single,pins = <
			J722S_IOPAD(0x000, PIN_INPUT, 7) /* CAM_A_PWR (L24) OSPI0_CLK.GPIO0_0 */
			J722S_IOPAD(0x018, PIN_INPUT, 7) /* CAM_A_RST (L25) OSPI0_D3.GPIO0_6 */
		>;
	};

	main_cam_b_pins_default: main-cam-b-default-pins {
		pinctrl-single,pins = <
			J722S_IOPAD(0x02c, PIN_INPUT, 7) /* CAM_B_PWR (K26) OSPI0_CSN0.GPIO0_11 */
			J722S_IOPAD(0x030, PIN_INPUT, 7) /* CAM_B_RST (K23) OSPI0_CSN1.GPIO0_12 */
		>;
	};

	main_cam_c_pins_default: main-cam-c-default-pins {
		pinctrl-single,pins = <
			J722S_IOPAD(0x00c, PIN_INPUT, 7) /* CAM_C_PWR (K27) OSPI0_D0.GPIO0_3 */
			J722S_IOPAD(0x010, PIN_INPUT, 7) /* CAM_C_RST (L27) OSPI0_D1.GPIO0_4 */
		>;
	};

	main_cam_d_pins_default: main-cam-d-default-pins {
		pinctrl-single,pins = <
			J722S_IOPAD(0x014, PIN_INPUT, 7) /* CAM_D_PWR (L26) OSPI0_D2.GPIO0_5 */
			J722S_IOPAD(0x128, PIN_INPUT, 7) /* CAM_D_RST (H21) MMC2_SDWP.GPIO0_72 */
		>;
	};

	main_pcie_reset_pins_default: main-pcie-reset-default-pins {
		pinctrl-single,pins = <
			J722S_IOPAD(0x078, PIN_INPUT, 7) /* PCIE_RESET# (V23) GPMC0_AD15.GPIO0_30 */
		>;
	};

	osm_gpio_a_0_pins_default: osm-gpio-a-0-default-pins {
		pinctrl-single,pins = <
			J722S_IOPAD(0x124, PIN_INPUT, 7) /* GPIO_A_0 (F26) MMC2_SDCD.GPIO0_71 */
		>;
	};

	osm_gpio_a_1_pins_default: osm-gpio-a-1-default-pins {
		pinctrl-single,pins = <
			J722S_IOPAD(0x0a4, PIN_INPUT, 7) /* GPIO_A_1 (N25) GPMC0_DIR.GPIO0_40 */
		>;
	};

	osm_gpio_a_2_pins_default: osm-gpio-a-2-default-pins {
		pinctrl-single,pins = <
			J722S_IOPAD(0x094, PIN_INPUT, 7) /* GPIO_A_2 (P26) GPMC0_BE1N.GPIO0_36 */
		>;
	};

	osm_gpio_a_3_pins_default: osm-gpio-a-3-default-pins {
		pinctrl-single,pins = <
			J722S_IOPAD(0x0bc, PIN_INPUT, 7) /* GPIO_A_3 (W25) VOUT0_DATA1.GPIO0_46 */
		>;
	};

	osm_gpio_a_4_pins_default: osm-gpio-a-4-default-pins {
		pinctrl-single,pins = <
			J722S_IOPAD(0x0b8, PIN_INPUT, 7) /* GPIO_A_4 (W27) VOUT0_DATA0.GPIO0_45 */
		>;
	};

	osm_gpio_a_5_pins_default: osm-gpio-a-5-default-pins {
		pinctrl-single,pins = <
			J722S_IOPAD(0x088, PIN_INPUT, 7) /* GPIO_A_5 (N22) GPMC0_OEN_REN.GPIO0_34 */
		>;
	};

	osm_gpio_a_6_pins_default: osm-gpio-a-6-default-pins {
		pinctrl-single,pins = <
			J722S_IOPAD(0x030, PIN_INPUT, 7) /* GPIO_A_6 (K23) OSPI0_CSN1.GPIO0_12 */
		>;
	};

	osm_gpio_b_2_pins_default: osm-gpio-b-2-default-pins {
		pinctrl-single,pins = <
			J722S_IOPAD(0x024, PIN_INPUT, 7) /* GPIO_B_2 (N27) OSPI0_D6.GPIO0_9 */
		>;
	};

	osm_gpio_b_3_pins_default: osm-gpio-b-3-default-pins {
		pinctrl-single,pins = <
			J722S_IOPAD(0x028, PIN_INPUT, 7) /* GPIO_B_3 (M27) OSPI0_D7.GPIO0_10 */
		>;
	};

	osm_gpio_b_4_pins_default: osm-gpio-b-4-default-pins {
		pinctrl-single,pins = <
			J722S_IOPAD(0x0a8, PIN_INPUT, 7) /* GPIO_B_4 (R27) GPMC0_CSn0.GPIO0_41 */
		>;
	};

	osm_gpio_b_5_pins_default: osm-gpio-b-5-default-pins {
		pinctrl-single,pins = <
			J722S_IOPAD(0x0ac, PIN_INPUT, 7) /* GPIO_B_5 (P21) GPMC0_CSn1.GPIO0_42 */
		>;
	};

	osm_gpio_b_6_pins_default: osm-gpio-b-6-default-pins {
		pinctrl-single,pins = <
			J722S_IOPAD(0x0d0, PIN_INPUT, 7) /* GPIO_B_6 (Y26) VOUT0_DATA6.GPIO0_51 */
		>;
	};

	osm_gpio_b_7_pins_default: osm-gpio-b-7-default-pins {
		pinctrl-single,pins = <
			J722S_IOPAD(0x0d4, PIN_INPUT, 7) /* GPIO_B_7 (Y27) VOUT0_DATA7.GPIO0_52 */
		>;
	};

	osm_gpio_c_0_pins_default: osm-gpio-c-0-default-pins {
		pinctrl-single,pins = <
			J722S_IOPAD(0x0c0, PIN_INPUT, 7) /* GPIO_C_0 (W24) VOUT0_DATA2.GPIO0_47 */
		>;
	};

	osm_gpio_c_1_pins_default: osm-gpio-c-1-default-pins {
		pinctrl-single,pins = <
			J722S_IOPAD(0x0c4, PIN_INPUT, 7) /* GPIO_C_1 (W23) VOUT0_DATA3.GPIO0_48 */
		>;
	};

	osm_gpio_c_2_pins_default: osm-gpio-c-2-default-pins {
		pinctrl-single,pins = <
			J722S_IOPAD(0x0c8, PIN_INPUT, 7) /* GPIO_C_2 (W22) VOUT0_DATA4.GPIO0_49 */
		>;
	};

	osm_gpio_c_3_pins_default: osm-gpio-c-3-default-pins {
		pinctrl-single,pins = <
			J722S_IOPAD(0x0cc, PIN_INPUT, 7) /* GPIO_C_3 (W21) VOUT0_DATA5.GPIO0_50 */
		>;
	};

	osm_gpio_c_4_pins_default: osm-gpio-c-4-default-pins {
		pinctrl-single,pins = <
			J722S_IOPAD(0x070, PIN_INPUT, 7) /* GPIO_C_4 (V24) GPMC0_AD13.GPIO0_28 */
		>;
	};

	osm_gpio_c_5_pins_default: osm-gpio-c-5-default-pins {
		pinctrl-single,pins = <
			J722S_IOPAD(0x074, PIN_INPUT, 7) /* GPIO_C_5 (V22) GPMC0_AD14.GPIO0_29 */
		>;
	};

	osm_gpio_c_6_pins_default: osm-gpio-c-6-default-pins {
		pinctrl-single,pins = <
			J722S_IOPAD(0x000, PIN_INPUT, 7) /* GPIO_C_6 (L24) OSPI0_CLK.GPIO0_0 */
		>;
	};

	osm_gpio_c_7_pins_default: osm-gpio-c-7-default-pins {
		pinctrl-single,pins = <
			J722S_IOPAD(0x018, PIN_INPUT, 7) /* GPIO_C_7 (L25) OSPI0_D3.GPIO0_6 */
		>;
	};

	osm_gpio_d_0_pins_default: osm-gpio-d-0-default-pins {
		pinctrl-single,pins = <
			J722S_IOPAD(0x02c, PIN_INPUT, 7) /* GPIO_D_0 (K26) OSPI0_CSN0.GPIO0_11 */
		>;
	};

	osm_gpio_d_1_pins_default: osm-gpio-d-1-default-pins {
		pinctrl-single,pins = <
			J722S_IOPAD(0x030, PIN_INPUT, 7) /* GPIO_D_1 (K23) OSPI0_CSN1.GPIO0_12 */
		>;
	};

	osm_gpio_d_2_pins_default: osm-gpio-d-2-default-pins {
		pinctrl-single,pins = <
			J722S_IOPAD(0x00c, PIN_INPUT, 7) /* GPIO_D_2 (K27) OSPI0_D0.GPIO0_3 */
		>;
	};

	osm_gpio_d_3_pins_default: osm-gpio-d-3-default-pins {
		pinctrl-single,pins = <
			J722S_IOPAD(0x010, PIN_INPUT, 7) /* GPIO_D_3 (L27) OSPI0_D1.GPIO0_4 */
		>;
	};

	osm_gpio_d_4_pins_default: osm-gpio-d-4-default-pins {
		pinctrl-single,pins = <
			J722S_IOPAD(0x014, PIN_INPUT, 7) /* GPIO_D_4 (L26) OSPI0_D2.GPIO0_5 */
		>;
	};

	osm_gpio_d_5_pins_default: osm-gpio-d-5-default-pins {
		pinctrl-single,pins = <
			J722S_IOPAD(0x128, PIN_INPUT, 7) /* GPIO_D_5 (H21) MMC2_SDWP.GPIO0_72 */
		>;
	};

	osm_gpio_d_7_pins_default: osm-gpio-d-7-default-pins {
		pinctrl-single,pins = <
			J722S_IOPAD(0x09c, PIN_INPUT, 7) /* GPIO_D_7 (W26) GPMC0_WAIT1.GPIO0_38 */
		>;
	};
};

&main_spi0 {
	/* SPI_C */
	pinctrl-names = "default";
	pinctrl-0 = <&main_spi0_pins_default>;
};

&main_uart0 {
	/* UART_CON */
	status = "okay";

	pinctrl-names = "default";
	pinctrl-0 = <&main_uart0_pins_default>;
};

/* On-module Bluetooth */
&main_uart1 {
	/* BT (Also used by TIFS firmware) */
	status = "reserved";
	pinctrl-names = "default";
	pinctrl-0 = <&main_uart1_pins_default>;
	uart-has-rtscts;
};

&main_uart5 {
	/* UART_A */
	pinctrl-names = "default";
	pinctrl-0 = <&main_uart5_pins_default>;
};

&main_uart6 {
	 /* UART_D */
	pinctrl-names = "default";
	pinctrl-0 = <&main_uart6_pins_default>;
};

&mcasp1 {
	#sound-dai-cells = <0>;

	pinctrl-names = "default";
	pinctrl-0 = <&main_mcasp1_pins_default>;

	op-mode = <0>;	/* MCASP_IIS_MODE */
	tdm-slots = <2>;

	serial-dir = <  /* 0: INACTIVE, 1: TX, 2: RX */
		   1 0 2 0
		   0 0 0 0
		   0 0 0 0
		   0 0 0 0
	>;
	tx-num-evt = <0>;
	rx-num-evt = <0>;
};

&mcu_gpio0 {
	status = "okay";
	gpio-line-names = 
		"","WAKEUP","","","",				/* 0 - 4 */
		"","","","","",
		"","","VPP_EN","GPIO_D_6","",					/* 10 - 14 */
		"","","","","",
		"","","","";					/* 20 - 23 */
};

&mcu_pmx0 {
	wkup_i2c0_pins_default: wkup_i2c0-default-pins {
		pinctrl-single,pins = <
			J722S_MCU_IOPAD(0x04c, PIN_INPUT_PULLUP, 0)	/* (B9) WKUP_I2C0_SCL */
			J722S_MCU_IOPAD(0x050, PIN_INPUT_PULLUP, 0)	/* (D11) WKUP_I2C0_SDA */
		>;
	};

	wkup_uart0_pins_default: wkup-uart0-default-pins {
		pinctrl-single,pins = <
			J722S_MCU_IOPAD(0x02c, PIN_INPUT_PULLUP, 0) /* (C4) WKUP_UART0_CTSn */
			J722S_MCU_IOPAD(0x030, PIN_OUTPUT, 0) /* (C3) WKUP_UART0_RTSn */
			J722S_MCU_IOPAD(0x024, PIN_INPUT_PULLUP, 0) /* (B3) WKUP_UART0_RXD */
			J722S_MCU_IOPAD(0x028, PIN_OUTPUT, 0) /* (C8) WKUP_UART0_TXD */
		>;
	};

	mcu_i2c0_pins_default: mcu-i2c0-default-pins {
		pinctrl-single,pins = <
			J722S_MCU_IOPAD(0x048, PIN_INPUT, 0) /* I2C_B_SDA (E11) MCU_I2C0_SDA */
			J722S_MCU_IOPAD(0x044, PIN_INPUT, 0) /* I2C_B_SCL (B13) MCU_I2C0_SCL */
		>;
	};

	mcu_mcan1_pins_default: mcu-mcan1-default-pins {
		pinctrl-single,pins = <
			J722S_MCU_IOPAD(0x03c, PIN_OUTPUT, 0) /* CAN_B_TX (C1) MCU_MCAN1_TX */
			J722S_MCU_IOPAD(0x040, PIN_INPUT, 0) /* CAN_B_RX (B1) MCU_MCAN1_RX */
		>;
	};

	mcu_spi0_pins_default: mcu-spi0-default-pins {
		pinctrl-single,pins = <
			J722S_MCU_IOPAD(0x000, PIN_OUTPUT, 0) /* SPI_C_CS0# (C12) MCU_SPI0_CS0 */
			J722S_MCU_IOPAD(0x008, PIN_OUTPUT, 0) /* SPI_C_SCK (A9) MCU_SPI0_CLK */
			J722S_MCU_IOPAD(0x00c, PIN_INPUT, 0) /* SPI_C_SDI (B12) MCU_SPI0_D0 */
			J722S_MCU_IOPAD(0x010, PIN_OUTPUT, 0) /* SPI_C_SDO (C11) MCU_SPI0_D1 */
		>;
	};

	mcu_uart0_pins_default: mcu-uart0-default-pins {
		pinctrl-single,pins = <
			J722S_MCU_IOPAD(0x01c, PIN_INPUT_PULLUP, 0) /* UART_B_CTS (B5) MCU_UART0_CTSn */
			J722S_MCU_IOPAD(0x020, PIN_OUTPUT, 0) /* UART_B_RTS (C5) MCU_UART0_RTSn */
			J722S_MCU_IOPAD(0x014, PIN_INPUT_PULLUP, 0) /* UART_B_RXD (B8) MCU_UART0_RXD */
			J722S_MCU_IOPAD(0x018, PIN_OUTPUT, 0) /* UART_B_TXD (B4) MCU_UART0_TXD */
		>;
	};

	wifi_32k_clk: mcu-clk-out-default-pins {
		pinctrl-single,pins = <
			J722S_MCU_IOPAD(0x084, PIN_OUTPUT, 0) /* (F12) WKUP_CLKOUT0 */
		>;
	};

	mcu_vpp_en_pins_default: mcu-vpp-en-default-pins {
		pinctrl-single,pins = <
			J722S_MCU_IOPAD(0x038, PIN_OUTPUT, 7) /* VPP_EN (D8) MCU_MCAN0_RX.GPIO0_14 */
		>;
	};

	osm_gpio_a_7_pins_default: osm-gpio-a-7-default-pins {
		pinctrl-single,pins = <
			J722S_MCU_IOPAD(0x004, PIN_INPUT, 7) /* GPIO_A_7 (A10) MCU_SPI0_CS1.MCU_GPIO0_4 */
		>;
	};

	osm_gpio_b_0_pins_default: osm-gpio-b-0-default-pins {
		pinctrl-single,pins = <
			J722S_MCU_IOPAD(0x030, PIN_INPUT, 7) /* GPIO_B_0 (C3) WKUP_UART0_RTSn.MCU_GPIO0_12 */
		>;
	};

	osm_gpio_b_1_pins_default: osm-gpio-b-1-default-pins {
		pinctrl-single,pins = <
			J722S_MCU_IOPAD(0x02c, PIN_INPUT, 7) /* GPIO_B_1 (C4) WKUP_UART0_CTSn.MCU_GPIO0_11 */
		>;
	};

	osm_gpio_d_6_pins_default: osm-gpio-d-6-default-pins {
		pinctrl-single,pins = <
			J722S_MCU_IOPAD(0x034, PIN_INPUT, 7) /* GPIO_D_6 (B2) MCU_MCAN0_TX.MCU_GPIO0_13 */
		>;
	};
};

&mcu_mcan1 { /* CAN_B */
	pinctrl-names = "default";
	pinctrl-0 = <&mcu_mcan1_pins_default>;
};

&mcu_uart0 { /* UART_B */
	pinctrl-names = "default";
	pinctrl-0 = <&mcu_uart0_pins_default>;
};

&mcu_spi0 { /* SPI_B */
	pinctrl-names = "default";
	pinctrl-0 = <&mcu_spi0_pins_default>;
};

&ospi0 {
	/* SPI_A Only 4 bits are routed out */
	pinctrl-names = "default";
	pinctrl-0 = <&ospi0_pins_default>;
};

&sdhci0 { /* eMMC */
	status = "okay";

	mmc-pwrseq = <&mmc0_pwrseq>;
	disable-wp;
	non-removable;

	ti,driver-strength-ohm = <50>;
};

&sdhci1 { /* SDIO_A */
	pinctrl-names = "default";
	pinctrl-0 = <&main_mmc1_pins_default>;

	vmmc-supply = <&vdd_mmc1>; /* SDIO_A_PWR_EN */
	vqmmc-supply = <&vsel_mmc1>; /* VSEL_SDI0_A */

	disable-wp;
	ti,driver-strength-ohm = <50>;
};

&sdhci2 { /* SDIO_B  WIFI */
	pinctrl-names = "default";
	pinctrl-0 = <&main_mmc2_pins_default>;

	vmmc-supply = <&reg_wifi_en>;
	vqmmc-supply = <&vdd_1v8>;

	disable-wp;
	non-removable;
	ti,fails-without-test-cd;
	ti,driver-strength-ohm = <50>;
	keep-power-in-suspend;
};

&wkup_uart0 {
	/* WKUP UART0 (UART_C) is used by DM firmware */
	status = "reserved";
	pinctrl-names = "default";
	pinctrl-0 = <&wkup_uart0_pins_default>;
};

&usb1 {
	maximum-speed = "super-speed";
	phys = <&serdes0_usb_link>;
	phy-names = "cdns3,usb3-phy";
};

&pcie0_rc {
	pinctrl-names = "default";
	pinctrl-0 = <&main_pcie_reset_pins_default>;
	reset-gpios = <&main_gpio0 30 GPIO_ACTIVE_HIGH>;

	phys = <&serdes1_pcie_link>;
	phy-names = "pcie-phy";
};

&serdes_wiz0 {
	status = "disabled";
};

&serdes_wiz1 {
	status = "disabled";
};

&serdes_ln_ctrl {
	idle-states = <J722S_SERDES0_LANE0_USB>,
		      <J722S_SERDES1_LANE0_PCIE0_LANE0>;
};

&serdes0 {
	serdes0_usb_link: phy@0 {
		reg = <0>;
		cdns,num-lanes = <1>;
		#phy-cells = <0>;
		cdns,phy-type = <PHY_TYPE_USB3>;
		resets = <&serdes_wiz0 1>;
	};
};

&serdes1 {
	serdes1_pcie_link: phy@0 {
		reg = <0>;
		cdns,num-lanes = <1>;
		#phy-cells = <0>;
		cdns,phy-type = <PHY_TYPE_PCIE>;
		resets = <&serdes_wiz1 1>;
	};
};

&gpu {
	status = "disabled";
};

&oldi1_dss1 {
	reg = <1>;
};
